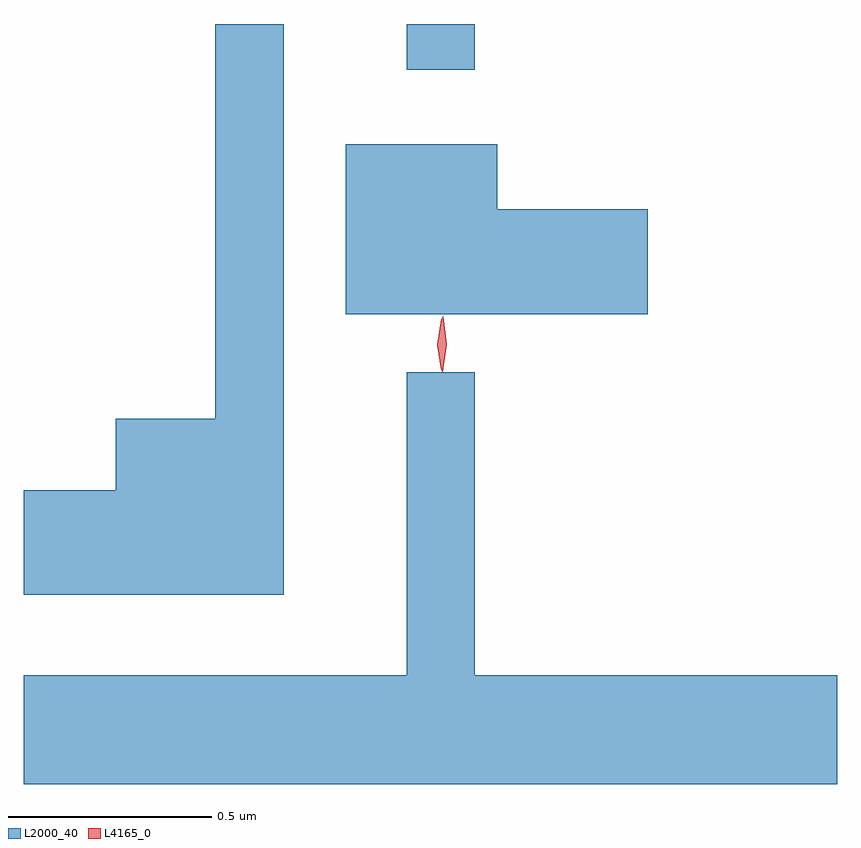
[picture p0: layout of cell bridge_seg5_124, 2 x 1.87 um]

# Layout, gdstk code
import gdstk
lib = gdstk.Library(unit=1e-6, precision=1e-09)
def R(c, l, rs):  # rectangles x0, y0, x1, y1
    for r in rs: c.add(gdstk.rectangle(r[:2], r[2:], *l))
def P(c, l, *ps):  # polygons
    for p in ps: c.add(gdstk.Polygon(p, *l))
L2000_40 = (2000, 40)
L4165_0 = (4165, 0)

bridge_seg5_124 = lib.new_cell('bridge_seg5_124')
R(bridge_seg5_124, L2000_40, [(1225.371,1502.953,1225.539,1503.065)])
P(bridge_seg5_124, L2000_40, [(1225.069,1503.065),(1224.901,1503.065),(1224.901,1502.094),(1224.656,1502.094),(1224.656,1501.919),(1224.43,1501.919),(1224.43,1501.661),(1225.069,1501.661)],
  [(1225.964,1502.609),(1225.594,1502.609),(1225.594,1502.769),(1225.221,1502.769),(1225.221,1502.351),(1225.964,1502.351)],
  [(1226.43,1501.464),(1225.539,1501.464),(1225.539,1502.208),(1225.371,1502.208),(1225.371,1501.464),(1224.43,1501.464),(1224.43,1501.196),(1226.43,1501.196)])
P(bridge_seg5_124, L4165_0, [(1225.457,1502.213),(1225.457,1502.214),(1225.447,1502.276),(1225.457,1502.339),(1225.457,1502.34),(1225.458,1502.339),(1225.467,1502.276),(1225.458,1502.214)],
  [(1225.459,1502.21),(1225.459,1502.21),(1225.45,1502.278),(1225.46,1502.346),(1225.461,1502.346),(1225.461,1502.346),(1225.47,1502.278),(1225.46,1502.21)])

lib.write_gds('bridge_seg5_124.gds')
